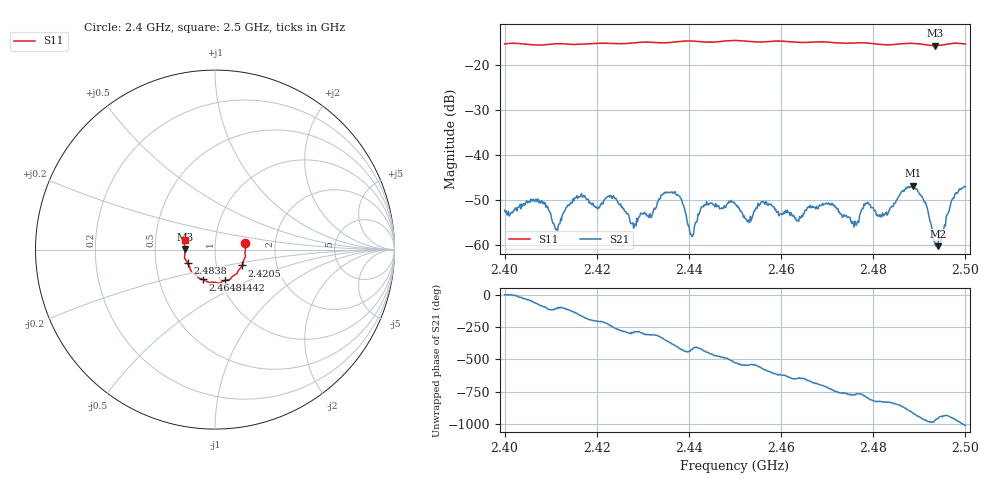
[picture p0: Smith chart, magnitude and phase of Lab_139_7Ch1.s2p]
# Hz S RI R 50
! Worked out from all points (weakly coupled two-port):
!   601 points, 2.4 GHz to 2.5 GHz, reference 50 ohm
!   highest |S21| = -46.89 dB at 2.4887 GHz (marker M1); lowest = -60.4 dB at 2.494 GHz (marker M2)
!   lowest |S11| = -15.6 dB at 2.4935 GHz (marker M3), VSWR 1.40, Z = 35.8 + j0.132 ohm
!   |S11| at or under -10 dB: start of sweep to end of sweep
!   S12 and S22 are empty: the file has one direction only
!   S11 on the Smith chart (normalised r, x): 2.4 GHz: 1.40, +0.11; 2.4205 GHz: 1.33, -0.24; 2.4442 GHz: 1.05, -0.37; 2.4648 GHz: 0.83, -0.28; 2.4838 GHz: 0.73, -0.11; 2.5 GHz: 0.71, +0.08
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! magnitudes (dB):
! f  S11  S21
! 2.4 GHz  -15.2  -52.3
! 2.4077 GHz  -15.5  -50.3
! 2.4113 GHz  -15.2  -56.5
! 2.4167 GHz  -15.3  -48.6
! 2.4205 GHz  -15.1  -51.8
! 2.4235 GHz  -15.2  -49.2
! 2.428 GHz  -15.0  -56.3
! 2.4333 GHz  -15.0  -50.4
! 2.4375 GHz  -14.7  -48.9
! 2.4407 GHz  -14.6  -58.2
! 2.4442 GHz  -14.8  -51.1
! 2.45 GHz  -14.5  -50.9
! 2.4527 GHz  -14.7  -54.8
! 2.4562 GHz  -14.8  -50.4
! 2.4648 GHz  -14.9  -53.1
! 2.4667 GHz  -14.9  -51.8
! 2.4833 GHz  -15.4  -52.5
! 2.4838 GHz  -15.4  -51.8
! 2.4887 GHz  -15.1  -46.9
! 2.4935 GHz  -15.6  -60.3
! 2.494 GHz  -15.6  -60.4
! 2.5 GHz  -15.3  -47.1
